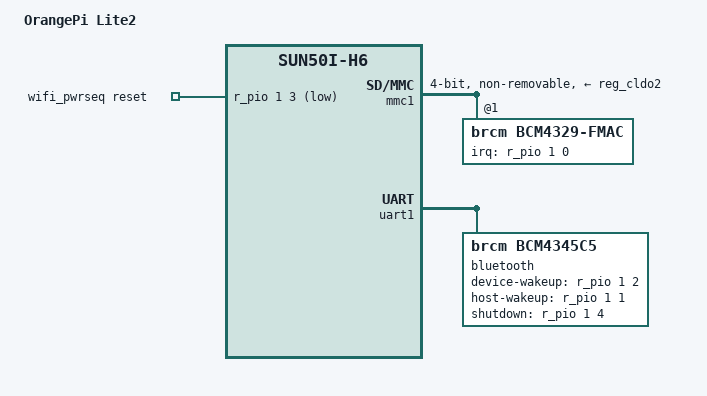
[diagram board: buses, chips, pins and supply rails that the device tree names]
// SPDX-License-Identifier: (GPL-2.0+ OR MIT)
// Copyright (C) 2018 Jagan Teki <jagan@openedev.com>

#include "sun50i-h6-orangepi.dtsi"

/ {
	model = "OrangePi Lite2";
	compatible = "xunlong,orangepi-lite2", "allwinner,sun50i-h6";

	aliases {
		serial1 = &uart1; /* BT-UART */
	};

	wifi_pwrseq: pwrseq {
		compatible = "mmc-pwrseq-simple";
		clocks = <&rtc CLK_OSC32K_FANOUT>;
		clock-names = "ext_clock";
		reset-gpios = <&r_pio 1 3 GPIO_ACTIVE_LOW>; /* PM3 */
		post-power-on-delay-ms = <200>;
	};
};

&mmc1 {
	vmmc-supply = <&reg_cldo2>;
	vqmmc-supply = <&reg_bldo3>;
	mmc-pwrseq = <&wifi_pwrseq>;
	bus-width = <4>;
	non-removable;
	status = "okay";

	brcm: wifi@1 {
		reg = <1>;
		compatible = "brcm,bcm4329-fmac";
		interrupt-parent = <&r_pio>;
		interrupts = <1 0 IRQ_TYPE_LEVEL_LOW>;	/* PM0 */
		interrupt-names = "host-wake";
	};
};

&reg_cldo2 {
	/*
	 * This regulator is connected with CLDO3.
	 * Before the kernel can support synchronized
	 * enable of coupled regulators, keep them
	 * both always on as a ugly hack.
	 */
	regulator-always-on;
};

&reg_cldo3 {
	/*
	 * This regulator is connected with CLDO2.
	 * See the comments for CLDO2.
	 */
	regulator-always-on;
};

/* There's the BT part of the AP6255 connected to that UART */
&uart1 {
	pinctrl-names = "default";
	pinctrl-0 = <&uart1_pins>, <&uart1_rts_cts_pins>;
	uart-has-rtscts;
	status = "okay";

	bluetooth {
		compatible = "brcm,bcm4345c5";
		clocks = <&rtc CLK_OSC32K_FANOUT>;
		clock-names = "lpo";
		device-wakeup-gpios = <&r_pio 1 2 GPIO_ACTIVE_HIGH>; /* PM2 */
		host-wakeup-gpios = <&r_pio 1 1 GPIO_ACTIVE_HIGH>; /* PM1 */
		shutdown-gpios = <&r_pio 1 4 GPIO_ACTIVE_HIGH>; /* PM4 */
		max-speed = <1500000>;
	};
};
